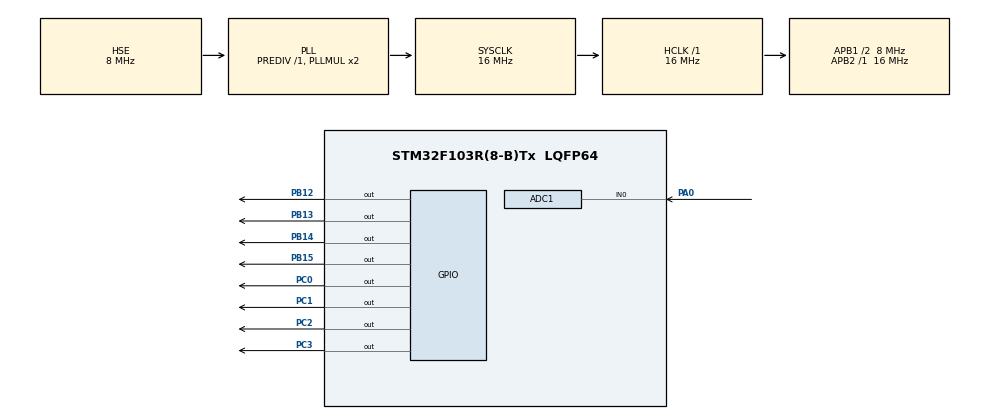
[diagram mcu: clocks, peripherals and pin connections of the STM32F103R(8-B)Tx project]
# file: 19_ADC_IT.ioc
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ADC1.Channel-0\#ChannelRegularConversion=ADC_CHANNEL_0
ADC1.ContinuousConvMode=ENABLE
ADC1.NbrOfConversionFlag=1
ADC1.Rank-0\#ChannelRegularConversion=1
ADC1.SamplingTime-0\#ChannelRegularConversion=ADC_SAMPLETIME_13CYCLES_5
ADC1.master=1
Mcu.Family=STM32F1
Mcu.Name=STM32F103R(8-B)Tx
Mcu.Package=LQFP64
NVIC.ADC1_2_IRQn=true\:0\:0\:false\:false\:true\:true\:true\:true
NVIC.PriorityGroup=NVIC_PRIORITYGROUP_4
PA0-WKUP.Signal=ADCx_IN0
PB12.Signal=GPIO_Output
PB13.Signal=GPIO_Output
PB14.Signal=GPIO_Output
PB15.Signal=GPIO_Output
PC0.Signal=GPIO_Output
PC1.Signal=GPIO_Output
PC14-OSC32_IN.Mode=LSE-External-Oscillator
PC14-OSC32_IN.Signal=RCC_OSC32_IN
PC15-OSC32_OUT.Mode=LSE-External-Oscillator
PC15-OSC32_OUT.Signal=RCC_OSC32_OUT
PC2.Signal=GPIO_Output
PC3.Signal=GPIO_Output
PD0-OSC_IN.Mode=HSE-External-Clock-Source
PD0-OSC_IN.Signal=RCC_OSC_IN
PD1-OSC_OUT.Mode=HSE-External-Clock-Source
PD1-OSC_OUT.Signal=RCC_OSC_OUT
ProjectManager.HeapSize=0x200
ProjectManager.StackSize=0x400
ProjectManager.TargetToolchain=STM32CubeIDE
RCC.AHBFreq_Value=16000000
RCC.APB1CLKDivider=RCC_HCLK_DIV2
RCC.APB1Freq_Value=8000000
RCC.APB1TimFreq_Value=16000000
RCC.APB2Freq_Value=16000000
RCC.APB2TimFreq_Value=16000000
RCC.HCLKFreq_Value=16000000
RCC.PLLSourceVirtual=RCC_PLLSOURCE_HSE
RCC.SYSCLKFreq_VALUE=16000000
RCC.SYSCLKSource=RCC_SYSCLKSOURCE_PLLCLK
RCC.USBFreq_Value=16000000
SH.ADCx_IN0.0=ADC1_IN0,IN0
board=custom

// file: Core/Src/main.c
/* USER CODE BEGIN Header */
/**
  ******************************************************************************
  * @file           : main.c
  * @brief          : Main program body
  ******************************************************************************
  * @attention
  *
  * Copyright (c) 2023 STMicroelectronics.
  * All rights reserved.
  *
  * This software is licensed under terms that can be found in the LICENSE file
  * in the root directory of this software component.
  * If no LICENSE file comes with this software, it is provided AS-IS.
  *
  ******************************************************************************
  */
/* USER CODE END Header */
#include "main.h"

ADC_HandleTypeDef hadc1;

/* USER CODE BEGIN PV */
int adc_value;
/* USER CODE END PV */

void SystemClock_Config(void);
static void MX_GPIO_Init(void);
static void MX_ADC1_Init(void);

/* USER CODE BEGIN 0 */
typedef struct led {
	GPIO_TypeDef *port;
	uint16_t pin;
} LED;
LED led[8] = {
		{GPIOC, GPIO_PIN_3}, {GPIOC, GPIO_PIN_2},
		{GPIOC, GPIO_PIN_1}, {GPIOC, GPIO_PIN_0},
		{GPIOB, GPIO_PIN_15}, {GPIOB, GPIO_PIN_14},
		{GPIOB, GPIO_PIN_13}, {GPIOB, GPIO_PIN_12}
};

void led_on(){
	for(uint8_t i = 0; i < 8; i++){
		HAL_GPIO_WritePin(led[i].port, led[i].pin, 1);
	}
}

void led_off(){
	for(uint8_t i = 0; i < 8; i++){
		HAL_GPIO_WritePin(led[i].port, led[i].pin, 0);
	}
}
/* USER CODE END 0 */

int main(void)
{

  /* MCU Configuration--------------------------------------------------------*/

  /* Reset of all peripherals, Initializes the Flash interface and the Systick. */
  HAL_Init();

  /* Configure the system clock */
  SystemClock_Config();

  /* Initialize all configured peripherals */
  MX_GPIO_Init();
  MX_ADC1_Init();
  /* USER CODE BEGIN 2 */
  HAL_ADCEx_Calibration_Start(&hadc1);
  HAL_ADC_Start_IT(&hadc1);

  /* USER CODE END 2 */

  /* Infinite loop */
  while (1)
  {

  }
}

void SystemClock_Config(void)
{
  RCC_OscInitTypeDef RCC_OscInitStruct = {0};
  RCC_ClkInitTypeDef RCC_ClkInitStruct = {0};
  RCC_PeriphCLKInitTypeDef PeriphClkInit = {0};

  /** Initializes the RCC Oscillators according to the specified parameters
  * in the RCC_OscInitTypeDef structure.
  */
  RCC_OscInitStruct.OscillatorType = RCC_OSCILLATORTYPE_HSE;
  RCC_OscInitStruct.HSEState = RCC_HSE_BYPASS;
  RCC_OscInitStruct.HSEPredivValue = RCC_HSE_PREDIV_DIV1;
  RCC_OscInitStruct.HSIState = RCC_HSI_ON;
  RCC_OscInitStruct.PLL.PLLState = RCC_PLL_ON;
  RCC_OscInitStruct.PLL.PLLSource = RCC_PLLSOURCE_HSE;
  RCC_OscInitStruct.PLL.PLLMUL = RCC_PLL_MUL2;
  if (HAL_RCC_OscConfig(&RCC_OscInitStruct) != HAL_OK)
  {
    Error_Handler();
  }

  /** Initializes the CPU, AHB and APB buses clocks
  */
  RCC_ClkInitStruct.ClockType = RCC_CLOCKTYPE_HCLK|RCC_CLOCKTYPE_SYSCLK
                              |RCC_CLOCKTYPE_PCLK1|RCC_CLOCKTYPE_PCLK2;
  RCC_ClkInitStruct.SYSCLKSource = RCC_SYSCLKSOURCE_PLLCLK;
  RCC_ClkInitStruct.AHBCLKDivider = RCC_SYSCLK_DIV1;
  RCC_ClkInitStruct.APB1CLKDivider = RCC_HCLK_DIV2;
  RCC_ClkInitStruct.APB2CLKDivider = RCC_HCLK_DIV1;

  if (HAL_RCC_ClockConfig(&RCC_ClkInitStruct, FLASH_LATENCY_0) != HAL_OK)
  {
    Error_Handler();
  }
  PeriphClkInit.PeriphClockSelection = RCC_PERIPHCLK_ADC;
  PeriphClkInit.AdcClockSelection = RCC_ADCPCLK2_DIV2;
  if (HAL_RCCEx_PeriphCLKConfig(&PeriphClkInit) != HAL_OK)
  {
    Error_Handler();
  }
}

static void MX_ADC1_Init(void)
{

  ADC_ChannelConfTypeDef sConfig = {0};

  /** Common config
  */
  hadc1.Instance = ADC1;
  hadc1.Init.ScanConvMode = ADC_SCAN_DISABLE;
  hadc1.Init.ContinuousConvMode = ENABLE;
  hadc1.Init.DiscontinuousConvMode = DISABLE;
  hadc1.Init.ExternalTrigConv = ADC_SOFTWARE_START;
  hadc1.Init.DataAlign = ADC_DATAALIGN_RIGHT;
  hadc1.Init.NbrOfConversion = 1;
  if (HAL_ADC_Init(&hadc1) != HAL_OK)
  {
    Error_Handler();
  }

  /** Configure Regular Channel
  */
  sConfig.Channel = ADC_CHANNEL_0;
  sConfig.Rank = ADC_REGULAR_RANK_1;
  sConfig.SamplingTime = ADC_SAMPLETIME_13CYCLES_5;
  if (HAL_ADC_ConfigChannel(&hadc1, &sConfig) != HAL_OK)
  {
    Error_Handler();
  }

}

static void MX_GPIO_Init(void)
{
  GPIO_InitTypeDef GPIO_InitStruct = {0};

  /* GPIO Ports Clock Enable */
  __HAL_RCC_GPIOC_CLK_ENABLE();
  __HAL_RCC_GPIOD_CLK_ENABLE();
  __HAL_RCC_GPIOA_CLK_ENABLE();
  __HAL_RCC_GPIOB_CLK_ENABLE();

  /*Configure GPIO pin Output Level */
  HAL_GPIO_WritePin(GPIOC, GPIO_PIN_0|GPIO_PIN_1|GPIO_PIN_2|GPIO_PIN_3, GPIO_PIN_RESET);

  /*Configure GPIO pin Output Level */
  HAL_GPIO_WritePin(GPIOB, GPIO_PIN_12|GPIO_PIN_13|GPIO_PIN_14|GPIO_PIN_15, GPIO_PIN_RESET);

  /*Configure GPIO pins : PC0 PC1 PC2 PC3 */
  GPIO_InitStruct.Pin = GPIO_PIN_0|GPIO_PIN_1|GPIO_PIN_2|GPIO_PIN_3;
  GPIO_InitStruct.Mode = GPIO_MODE_OUTPUT_PP;
  GPIO_InitStruct.Pull = GPIO_NOPULL;
  GPIO_InitStruct.Speed = GPIO_SPEED_FREQ_LOW;
  HAL_GPIO_Init(GPIOC, &GPIO_InitStruct);

  /*Configure GPIO pins : PB12 PB13 PB14 PB15 */
  GPIO_InitStruct.Pin = GPIO_PIN_12|GPIO_PIN_13|GPIO_PIN_14|GPIO_PIN_15;
  GPIO_InitStruct.Mode = GPIO_MODE_OUTPUT_PP;
  GPIO_InitStruct.Pull = GPIO_NOPULL;
  GPIO_InitStruct.Speed = GPIO_SPEED_FREQ_LOW;
  HAL_GPIO_Init(GPIOB, &GPIO_InitStruct);

}

/* USER CODE BEGIN 4 */
void HAL_ADC_ConvCpltCallback(ADC_HandleTypeDef *hadc){
	adc_value = HAL_ADC_GetValue(&hadc1);
	if(hadc == &hadc1){
		if(adc_value < 2000){
			led_on();
		} else if(adc_value > 2000){
			led_off();
		}
	}
}

/* USER CODE END 4 */

void Error_Handler(void)
{
  __disable_irq();
  while (1)
  {
  }
}
